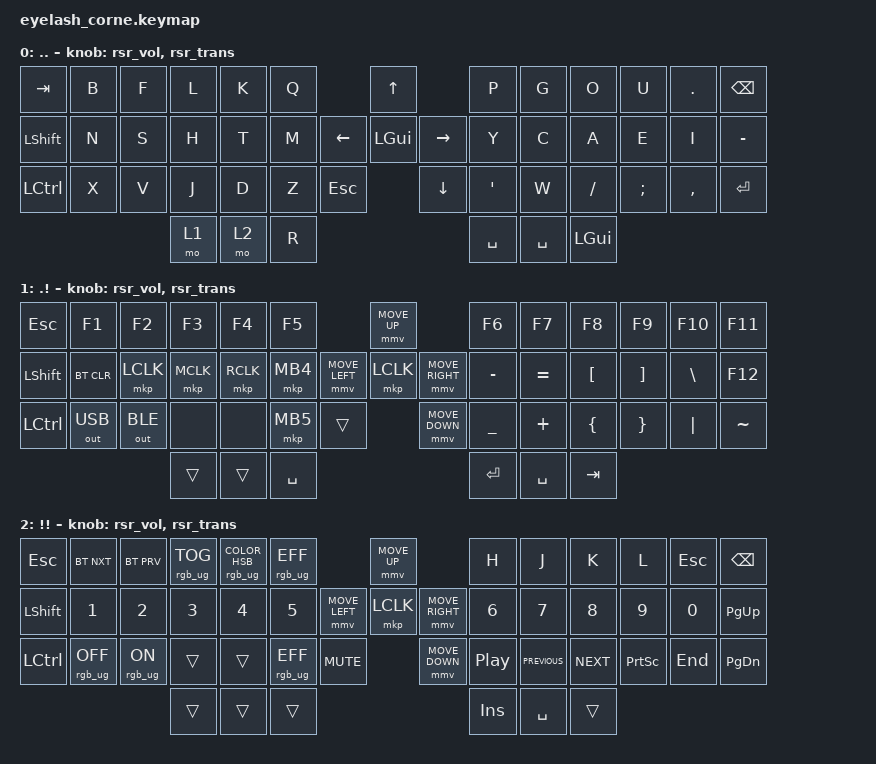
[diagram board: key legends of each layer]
#define ZMK_POINTING_DEFAULT_MOVE_VAL 1200  // 600
#define ZMK_POINTING_DEFAULT_SCRL_VAL 25   // 10

#include <input/processors.dtsi>
#include <zephyr/dt-bindings/input/input-event-codes.h>
#include <behaviors/runtime-sensor-rotate.dtsi>
#include <behaviors.dtsi>
#include <dt-bindings/zmk/bt.h>
#include <dt-bindings/zmk/keys.h>
#include <dt-bindings/zmk/outputs.h>
#include <dt-bindings/zmk/pointing.h>
#include <dt-bindings/zmk/rgb.h>

&mmv_input_listener { input-processors = <&zip_xy_scaler 2 1>; };

&msc_input_listener { input-processors = <&zip_scroll_scaler 2 1>; };

&msc {
    acceleration-exponent = <1>;      // 0
    time-to-max-speed-ms = <100>;       // 300
    delay-ms = <0>;                   // 0
};

&mmv {
    time-to-max-speed-ms = <500>;
    acceleration-exponent = <1>;
    trigger-period-ms = <16>;
};

&soft_off { hold-time-ms = <2000>; };

/ {
    behaviors {
        rsr_trans: rsr_trans {
            compatible = "zmk,behavior-runtime-sensor-rotate";
            #sensor-binding-cells = <0>;
            tap-ms = <0>;
        };

        rsr_vol: rsr_vol {
            compatible = "zmk,behavior-runtime-sensor-rotate";
            #sensor-binding-cells = <0>;
            tap-ms = <5>;
            cw-binding = <&kp C_VOL_UP>;
            ccw-binding = <&kp C_VOL_DN>;
        };
    };

    rgb_encoder: rgb_encoder {
        compatible = "zmk,behavior-sensor-rotate";
        #sensor-binding-cells = <0>;
        bindings = <&rgb_ug RGB_BRI>, <&rgb_ug RGB_BRD>;
    };

    combos {
        compatible = "zmk,combos";

        softoff {
            bindings = <&soft_off>;
            key-positions = <1 15 29>;
        };
    };

    keymap {
        compatible = "zmk,keymap";

        mid {
            display-name = "..";
            bindings = <
&kp TAB    &kp B  &kp F  &kp L  &kp K  &kp Q                       &kp UP               &kp P      &kp G      &kp O     &kp U     &kp DOT    &kp BSPC
&kp LSHFT  &kp N  &kp S  &kp H  &kp T  &kp M             &kp LEFT  &kp LGUI  &kp RIGHT  &kp Y      &kp C      &kp A     &kp E     &kp I      &kp MINUS
&kp LCTRL  &kp X  &kp V  &kp J  &kp D  &kp Z  &kp ESC              &kp DOWN             &kp SQT    &kp W      &kp FSLH  &kp SEMI  &kp COMMA  &kp RET
                         &mo 1  &mo 2  &kp R                                            &kp SPACE  &kp SPACE  &kp LGUI
            >;

            sensor-bindings = <&rsr_vol &rsr_trans>;
        };

        up {
            display-name = ".!";
            bindings = <
&kp ESC     &kp F1        &kp F2        &kp F3     &kp F4     &kp F5                               &mmv MOVE_UP                     &kp F6     &kp F7     &kp F8    &kp F9    &kp F10   &kp F11
&kp LSHIFT  &bt BT_CLR    &mkp LCLK     &mkp MCLK  &mkp RCLK  &mkp MB4             &mmv MOVE_LEFT  &mkp LCLK       &mmv MOVE_RIGHT  &kp MINUS  &kp EQUAL  &kp LBKT  &kp RBKT  &kp BSLH  &kp F12
&kp LCTRL   &out OUT_USB  &out OUT_BLE  &none      &none      &mkp MB5   &trans                    &mmv MOVE_DOWN                   &kp UNDER  &kp PLUS   &kp LBRC  &kp RBRC  &kp PIPE  &kp TILDE
                                        &trans     &trans     &kp SPACE                                                             &kp RET    &kp SPACE  &kp TAB
            >;

            sensor-bindings = <&rsr_vol &rsr_trans>;
        };

        low {
            display-name = "!!";
            bindings = <
&kp ESC     &bt BT_NXT       &bt BT_PRV      &rgb_ug RGB_TOG  &rgb_ug RGB_COLOR_HSB(329,88,48)  &rgb_ug RGB_EFF                                &mmv MOVE_UP                     &kp H             &kp J           &kp K       &kp L            &kp ESCAPE  &kp BSPC
&kp LSHIFT  &kp N1           &kp N2          &kp N3           &kp N4                            &kp N5                         &mmv MOVE_LEFT  &mkp LCLK       &mmv MOVE_RIGHT  &kp N6            &kp N7          &kp N8      &kp N9           &kp N0      &kp PG_UP
&kp LCTRL   &rgb_ug RGB_OFF  &rgb_ug RGB_ON  &trans           &trans                            &rgb_ug RGB_EFF  &kp C_MUTE                    &mmv MOVE_DOWN                   &kp C_PLAY_PAUSE  &kp C_PREVIOUS  &kp C_NEXT  &kp PRINTSCREEN  &kp END     &kp PG_DN
                                             &trans           &trans                            &trans                                                                          &kp INS           &kp SPACE       &trans
            >;

            sensor-bindings = <&rsr_vol &rsr_trans>;
        };
    };
};
